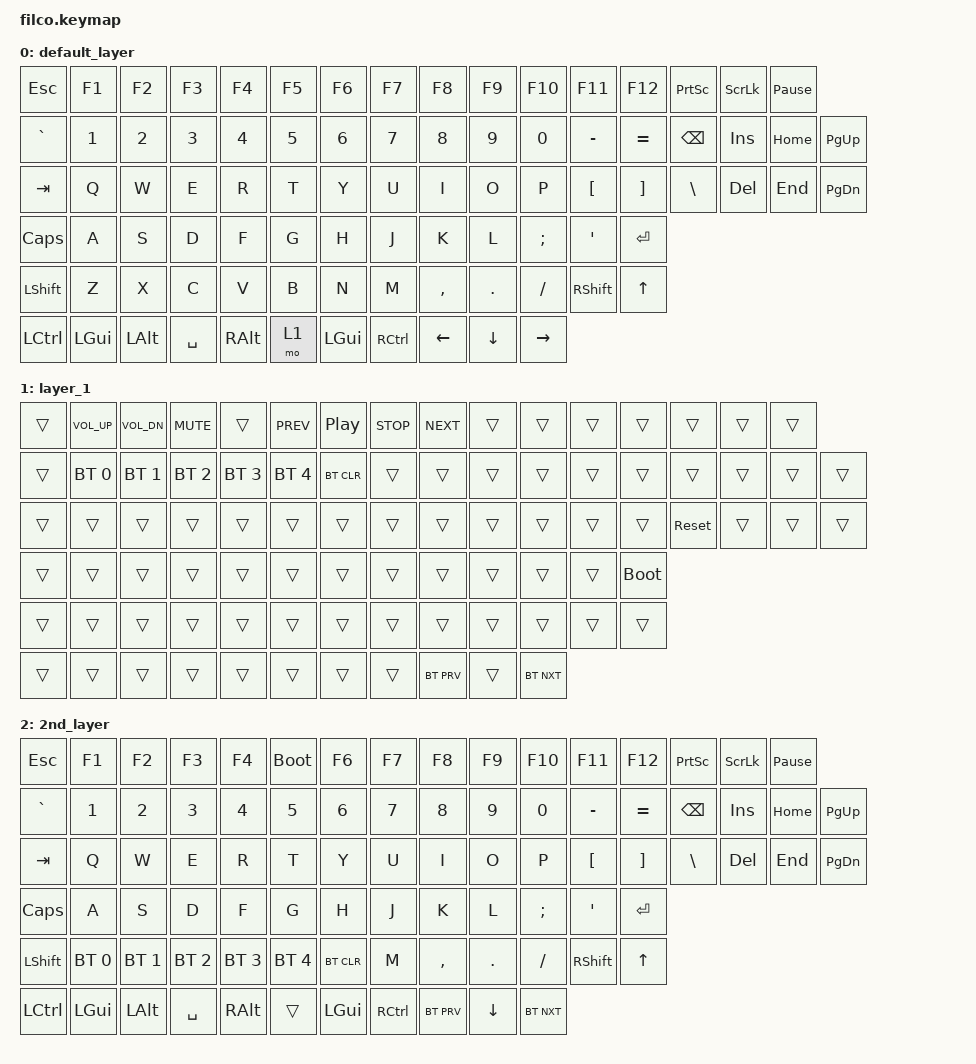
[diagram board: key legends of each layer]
/*
 * Copyright (c) 2021 Nick Winans
 *
 * SPDX-License-Identifier: MIT
 */

#include <behaviors.dtsi>
#include <dt-bindings/zmk/bt.h>
#include <dt-bindings/zmk/keys.h>

/ {
    keymap {
        compatible = "zmk,keymap";

        default_layer {
            bindings = <
  &kp ESC    &kp F1    &kp F2     &kp F3    &kp F4  &kp F5    &kp F6     &kp F7     &kp F8    &kp F9    &kp F10    &kp F11    &kp F12  &kp PSCRN  &kp SLCK  &kp PAUSE_BREAK
&kp GRAVE    &kp N1    &kp N2     &kp N3    &kp N4  &kp N5    &kp N6     &kp N7     &kp N8    &kp N9     &kp N0  &kp MINUS  &kp EQUAL   &kp BSPC   &kp INS         &kp HOME  &kp PG_UP
  &kp TAB     &kp Q     &kp W      &kp E     &kp R   &kp T     &kp Y      &kp U      &kp I     &kp O      &kp P   &kp LBKT   &kp RBKT   &kp BSLH   &kp DEL          &kp END  &kp PG_DN
 &kp CAPS     &kp A     &kp S      &kp D     &kp F   &kp G     &kp H      &kp J      &kp K     &kp L   &kp SEMI    &kp SQT    &kp RET
&kp LSHFT     &kp Z     &kp X      &kp C     &kp V   &kp B     &kp N      &kp M  &kp COMMA   &kp DOT   &kp FSLH  &kp RSHFT     &kp UP
&kp LCTRL  &kp LGUI  &kp LALT  &kp SPACE  &kp RALT   &mo 1  &kp LGUI  &kp RCTRL   &kp LEFT  &kp DOWN  &kp RIGHT
            >;
        };

        layer_1 {
            bindings = <
&trans  &kp C_VOL_UP  &kp C_VOL_DN    &kp K_MUTE        &trans    &kp K_PREV  &kp C_PLAY_PAUSE  &kp C_STOP  &kp K_NEXT  &trans      &trans  &trans       &trans      &trans  &trans  &trans
&trans  &bt BT_SEL 0  &bt BT_SEL 1  &bt BT_SEL 2  &bt BT_SEL 3  &bt BT_SEL 4        &bt BT_CLR      &trans      &trans  &trans      &trans  &trans       &trans      &trans  &trans  &trans  &trans
&trans        &trans        &trans        &trans        &trans        &trans            &trans      &trans      &trans  &trans      &trans  &trans       &trans  &sys_reset  &trans  &trans  &trans
&trans        &trans        &trans        &trans        &trans        &trans            &trans      &trans      &trans  &trans      &trans  &trans  &bootloader
&trans        &trans        &trans        &trans        &trans        &trans            &trans      &trans      &trans  &trans      &trans  &trans       &trans
&trans        &trans        &trans        &trans        &trans        &trans            &trans      &trans  &bt BT_PRV  &trans  &bt BT_NXT
            >;
        };

        2nd_layer {

        bindings = <
    &kp ESC        &kp F1          &kp F2          &kp F3          &kp F4          &bootloader   &kp F6       &kp F7          &kp F8    &kp F9    &kp F10    &kp F11    &kp F12              &kp PSCRN  &kp SLCK &kp PAUSE_BREAK 
	&kp GRAVE      &kp N1          &kp N2          &kp N3          &kp N4          &kp N5        &kp N6       &kp N7          &kp N8    &kp N9    &kp N0     &kp MINUS  &kp EQUAL &kp BSPC   &kp INS    &kp HOME &kp PG_UP 
	&kp TAB        &kp Q           &kp W           &kp E           &kp R           &kp T         &kp Y        &kp U           &kp I     &kp O     &kp P      &kp LBKT   &kp RBKT  &kp BSLH   &kp DEL    &kp END  &kp PG_DN
	&kp CAPS       &kp A           &kp S           &kp D           &kp F           &kp G         &kp H        &kp J           &kp K     &kp L     &kp SEMI   &kp SQT    &kp RET             
	&kp LSHFT      &bt BT_SEL 0    &bt BT_SEL 1    &bt BT_SEL 2    &bt BT_SEL 3    &bt BT_SEL 4  &bt BT_CLR   &kp M           &kp COMMA &kp DOT   &kp FSLH              &kp RSHFT                       &kp UP 
	&kp LCTRL      &kp LGUI	       &kp LALT                                         &kp SPACE                                                     &kp RALT   &trans     &kp LGUI   &kp RCTRL &bt BT_PRV &kp DOWN   &bt BT_NXT 
        >;
    };
};

};
